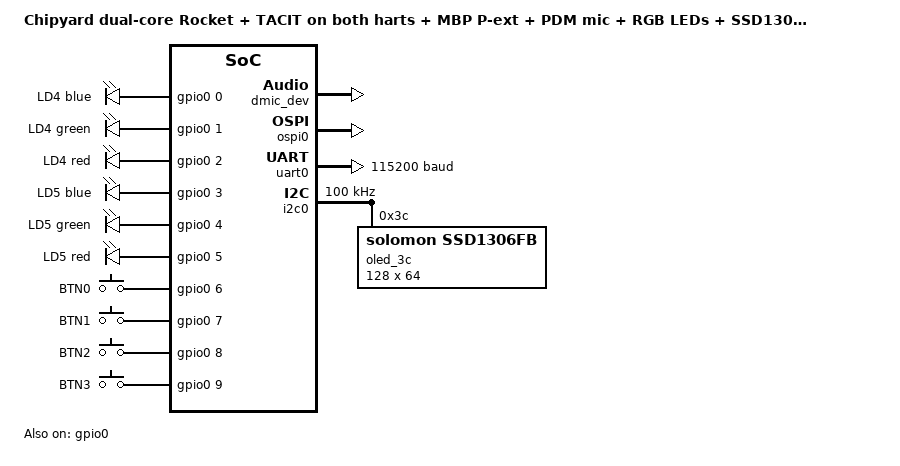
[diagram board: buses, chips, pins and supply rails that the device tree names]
/dts-v1/;

/*
 * THE TRACE BITSTREAM: 0x5A5A0039, variant `tracepanelcam`, FCLK0 40 MHz.
 * Config PynqZ2RocketBigLittlePextTacitMicRgbI2cBtnCamConfig (Lab B138).
 *
 * It is chipyard_pynqz1_panel_f40 (0x5A5A0037's board) PLUS the HM01B0 capture peripheral
 * at 0x1008_0000 -- that node and its two aliases are chipyard_pynqz1_cam's, with one
 * number changed -- and the silicon behind it has NO RoCC ENGINE.  Neither change touches
 * the console, and only one of them moves an interrupt number:
 *
 *   ospi@10080000 added   -> PLIC source 13; riscv,ndev 12 -> 13.  NOTHING BEFORE IT MOVES:
 *                            the I2C is still 1, THE CONSOLE IS STILL 2 and the GPIO is
 *                            still 3..12, because the capture peripheral is mixed in after
 *                            all three.
 *   RoCC engine removed   -> NOT VISIBLE IN DEVICETREE AT ALL, and that is the trap.  A RoCC
 *                            accelerator has no DT node; it is reached by executing a
 *                            custom-1 instruction.  On this silicon hart 1 has no RoCC
 *                            decode table, so EVERY ModelBlaster dispatch raises an illegal
 *                            instruction (mcause 2) instead of running the engine.  An image
 *                            that expects the engine must not be run here, and devicetree
 *                            cannot stop it -- only the MAGIC gate can.
 *
 * WHAT THIS BOARD HAS THAT chipyard_pynqz1_all_f40 (0x5A5A0038) DOES NOT: TACIT.  Both harts
 * carry a trace encoder and a DMA sink, at 0x300_0000 / 0x300_1000 and 0x301_0000 /
 * 0x301_1000.  They have NO devicetree node and NO PLIC source here for the same reason they
 * have none on any other board in this tree: Zephyr reaches them through
 * soc/rocketchip/virt_riscv/common/tacit/tacit.h, which computes `base + hart_id * 0x1000`
 * from constants.  They are listed here so the record says which silicon has them.
 *
 * ---------------------------------------------------------------------------------------
 * THE NUMBERS, AND HOW THEY WERE VERIFIED
 *
 * Read out of THE BOOTROM DTB THAT IS COMPILED INTO THIS BITSTREAM, the way B136 had to
 * after getting a console wrong by trusting a comment:
 *
 *   1. TLROM.sv in this config's gen-collateral holds the boot ROM as a 1,024-entry packed
 *      SystemVerilog array literal, `wire [1023:0][63:0] _GEN = '{...}`, so the words appear
 *      in DESCENDING index order and must be REVERSED before unpacking little-endian.
 *   2. Done that way the ROM is 8,192 bytes, byte 0xC0 is the FDT magic d00dfeed and the
 *      blob is 5,124 bytes.  `dtc -I dtb -O dts` on it says, verbatim:
 *
 *          i2c@10040000                  interrupts = <0x01>;
 *          serial@10020000               interrupts = <0x02>;
 *          gpio@10010000                 interrupts = <0x03 ... 0x0c>;   (ten)
 *          ospi@10080000                 interrupts = <0x0d>;
 *          interrupt-controller@c000000  riscv,ndev = <0x0d>;
 *          trace-encoder-controller@3000000, @3001000
 *          trace-sink-dma@3010000,         @3011000
 *
 *      The last two lines are also the evidence that BOTH TILES carry an encoder and a sink:
 *      chipyard.WithTacitEncoder maps over every tile with
 *      `encoderBaseAddr = 0x3000000 + tileId * 0x1000`, and here is the result in the
 *      silicon's own ROM rather than in the fragment's name.
 *   3. The config's own generated .dts next to that collateral says the same thing, and so
 *      does tcl/build_rocket.tcl's variant comment.  Three statements, one of which is the
 *      bootrom; the numbers below are that one.
 *
 * riscv,ndev is left at the shared dtsi's 1024 rather than cut to 13, as on every other
 * board here: Zephyr's PLIC driver sizes its tables from it, and a driver prepared for more
 * sources than the hardware has is the harmless direction.
 *
 * THE NUMBERING IS THE SAME AS chipyard_pynqz1_all_f40's, and that is not a coincidence:
 * that SoC has the same four peripherals in the same order.  TACIT contributes no interrupt
 * and the RoCC never did either, so the two boards' PLIC maps coincide.  An image built for
 * either board gets a correct console on the other silicon -- but only this one names a
 * machine where the TACIT MMIO answers and the engine does not.
 *
 * ---------------------------------------------------------------------------------------
 * ONE I2C BUS, TWO DEVICES ON IT, AND THAT IS THE BOARD'S DOING RATHER THAN A COMPROMISE.
 * The SSD1306 at 0x3c and the HM01B0's control port at 0x24 are both on i2c0 (0x1004_0000),
 * because the camera shield hangs its J4 OLED row straight on PL_SDA/PL_SCL and puts the
 * sensor behind a PCA9306 on the same pair.  P16 = SCL, P15 = SDA -- the only two PL balls
 * on this board with pull-ups fitted (2.2 k to 3V3, R49/R50).  B136 MEASURED an SSD1306
 * answering at 0x3c on exactly those balls, on 0x5A5A0037, on this bench.
 *
 * NOBODY HAS RUN THE TWO TOGETHER.  Sharing a bus is a software problem -- the sensor's
 * control writes and the display's frame writes must not interleave inside a transfer -- and
 * no image here does both yet.
 *
 * ---------------------------------------------------------------------------------------
 * WHICH PHYSICAL PINS, because the OLED and the camera are wired to the PL by hand.  From
 * src/pynqz2_i2c.xdc and src/pynqz2_ospi.xdc, the constraints this build used:
 *
 *     SCL  ball P16  bank 34   PYNQ-Z1 shield row J6, pin marked "SCL"
 *     SDA  ball P15  bank 34   PYNQ-Z1 shield row J6, pin marked "SDA"
 *
 *     cam_d[0..7]  T14 U12 V13 V15 T15 R16 U17 V17      (shield IO0,1,3..8)
 *     cam_pclk U10   cam_fvld W11   cam_lvld V11   cam_int T5     (shield A5,A2,A3,A4)
 *     cam_mclk V18   cam_trig T16                                 (shield IO9, IO10)
 *
 * U13 is PUDC_B, tied to 3V3 on the shield; tcl/build_rocket.tcl checks after route that no
 * port landed on it.  The buttons need no wiring -- BTN0..BTN3 are the board's own:
 *
 *     btn[0] BTN0  D19   btn[1] BTN1  D20   btn[2] BTN2  L20   btn[3] BTN3  L19
 *
 * ACTIVE HIGH -- PYNQ-Z1 Reference Manual section 12, quoted in docs/RGB_LEDS.md section 8.
 * NOBODY HAS PRESSED ONE (B136 phase C scored UNPRESSED); that is still true here.
 */

#include <zephyr/dt-bindings/gpio/gpio.h>
#include <zephyr/dt-bindings/input/input-event-codes.h>
#include <chipyard/chipyard-riscv64.dtsi>

/ {
	model = "Chipyard dual-core Rocket + TACIT on both harts + MBP P-ext + PDM mic + RGB LEDs + SSD1306 I2C + 4 buttons + HM01B0 capture DMA, no RoCC engine (PYNQ-Z1, FCLK0 40 MHz)";
	compatible = "ucb-bar,chipyard-dev";

	chosen {
		zephyr,console = &uart0;
		zephyr,shell-uart = &uart0;
		zephyr,sram = &ram0;
	};

	soc {
		dmic_dev: pdm-mic@10090000 {
			compatible = "iiswc,pdm-mic";
			reg = <0x10090000 0x1000>;
			status = "okay";
		};

		gpio0: gpio@10010000 {
			compatible = "sifive,gpio0";
			reg = <0x10010000 0x1000>;
			reg-names = "control";
			interrupt-parent = <&plic>;
			/*
			 * TEN entries, <source priority>, in pin order -- the bootrom DTB's
			 * `interrupts = <3 4 5 6 7 8 9 10 11 12>`.  sifive,gpio0.yaml makes
			 * `interrupts` required and gpio_sifive.c IRQ_CONNECTs one per entry
			 * (its cfg function has slots for twelve), so these have to be right
			 * rather than plausible.  Nothing here uses them today: the LEDs are
			 * outputs and the buttons are polled.
			 */
			interrupts = <3 1>, <4 1>, <5 1>, <6 1>, <7 1>, <8 1>,
				     <9 1>, <10 1>, <11 1>, <12 1>;
			gpio-controller;
			#gpio-cells = <2>;
			/*
			 * Ten, not six and not the binding's default 32.
			 * GPIO_PORT_PIN_MASK_FROM_DT_INST builds the driver's port_pin_mask
			 * from this, so a write to pin 10 comes back -EINVAL instead of
			 * reaching a register bit the hardware does not have.
			 */
			ngpios = <10>;
			status = "okay";
		};

		/*
		 * THE HM01B0 CAPTURE PERIPHERAL AND ITS TileLink DMA MASTER.  Node shape and every
		 * property are chipyard_pynqz1_cam's, character for character, except the interrupt:
		 * source 9 there (that SoC has a six-pin GPIO and no I2C ahead of the UART), source
		 * 13 here.  Read from this bitstream's own bootrom DTB -- see the header.
		 *
		 * THERE IS NO ZEPHYR DRIVER.  samples/cam_capture drives these registers through
		 * fpga/pynq-z2/sw/cam/ospi_cam.c and POLLS, so `interrupts` is recorded because the
		 * binding requires it and because a wrong number in the record is a lie, not because
		 * anything connects it.
		 *
		 * frame-buffer-depth is 512 BEATS AND THAT IS A LINE, NOT A FRAME: the DMA drains
		 * into DDR while the sensor reads out, so software must have a transfer armed before
		 * a frame starts (fpga/pynq-z2/docs/CAMERA_Z1.md section 5).  It is the CAPACITY
		 * register's value in this build, not a tunable here.
		 *
		 * sensor-i2c points at the SAME controller the OLED is on.  See the header.
		 */
		ospi0: ospi@10080000 {
			compatible = "ucbbar,ospi-hm01b0";
			reg = <0x10080000 0x1000>;
			interrupt-parent = <&plic>;
			interrupts = <13 1>;
			frame-buffer-depth = <512>;
			sensor-i2c = <&i2c0>;
			status = "okay";
		};
	};

	/*
	 * UNCHANGED FROM chipyard_pynqz1_micrgb_f40, deliberately and to be kept that way:
	 * pins 0..5 of this controller are the same six RGB signals on the same six balls
	 * (L15/G17/N15 = LD4 blue/green/red, G14/L14/M15 = LD5), and samples/mic_led_record
	 * and samples/moonshine_live reach them only through the led0..led5 aliases below.
	 * Widening the controller did not move them; that is what makes those two samples
	 * build for this board with no source change.
	 *
	 * ACTIVE HIGH: the FPGA drives the tri-colour LED cathodes through an INVERTING
	 * transistor (PYNQ-Z1 Reference Manual 12.1).  The PL chops all six at a fixed
	 * 12.5 % duty (src/pynqz2_rocket_top.v), so a pin written to 1 is on at 12.5 %.
	 */
	rgbleds: rgbleds {
		compatible = "gpio-leds";
		ld4_blue:  ld4_blue  { gpios = <&gpio0 0 GPIO_ACTIVE_HIGH>; label = "LD4 blue";  };
		ld4_green: ld4_green { gpios = <&gpio0 1 GPIO_ACTIVE_HIGH>; label = "LD4 green"; };
		ld4_red:   ld4_red   { gpios = <&gpio0 2 GPIO_ACTIVE_HIGH>; label = "LD4 red";   };
		ld5_blue:  ld5_blue  { gpios = <&gpio0 3 GPIO_ACTIVE_HIGH>; label = "LD5 blue";  };
		ld5_green: ld5_green { gpios = <&gpio0 4 GPIO_ACTIVE_HIGH>; label = "LD5 green"; };
		ld5_red:   ld5_red   { gpios = <&gpio0 5 GPIO_ACTIVE_HIGH>; label = "LD5 red";   };
	};

	/*
	 * THE FOUR BUTTONS, AS gpio-keys WITH sw0..sw3 ALIASES.  Two reasons for that shape
	 * rather than bare aliases onto the controller:
	 *
	 *   1. An application that only wants to POLL still gets a gpio_dt_spec with the
	 *      polarity attached -- GPIO_DT_SPEC_GET(DT_ALIAS(sw0), gpios) -- which is
	 *      EXACTLY the led0..led5 pattern samples/moonshine_live already uses.  Nobody
	 *      has to know that BTN0 is pin 6, and nobody can get the polarity wrong.
	 *   2. gpio-keys costs nothing unless an image asks for it.  CONFIG_INPUT is not
	 *      default-y (subsys/input/Kconfig), and CONFIG_INPUT_GPIO_KEYS lives inside
	 *      `if INPUT`, so on an image that does not set CONFIG_INPUT=y these nodes bind
	 *      no driver, connect no IRQ and cost no bytes.  An image that DOES want edge
	 *      events later gets them for one Kconfig line, using the PLIC sources above.
	 *
	 * zephyr,code is filled in so that path works when somebody takes it; it is ignored
	 * by polling code.
	 *
	 * INPUT ONLY, AND input_en MATTERS.  Nothing in the PL drives these four balls; the
	 * top level feeds the controller's i_ival from the pad gated by the controller's own
	 * input_en.  A guest that never calls gpio_pin_configure_dt(..., GPIO_INPUT) reads
	 * EVERY BUTTON AS 0 FOREVER -- it does not error, it just reads 0.  gpio_sifive.c
	 * sets in_en from the GPIO_INPUT flag, so configure before you read.
	 *
	 * NO DEBOUNCE IN HARDWARE, and the board has none either.  A polling reader should
	 * require two agreeing samples a few ms apart, or use debounce-interval-ms here.
	 */
	buttons: buttons {
		compatible = "gpio-keys";
		debounce-interval-ms = <30>;
		btn0: btn0 { gpios = <&gpio0 6 GPIO_ACTIVE_HIGH>; label = "BTN0"; zephyr,code = <INPUT_KEY_0>; };
		btn1: btn1 { gpios = <&gpio0 7 GPIO_ACTIVE_HIGH>; label = "BTN1"; zephyr,code = <INPUT_KEY_1>; };
		btn2: btn2 { gpios = <&gpio0 8 GPIO_ACTIVE_HIGH>; label = "BTN2"; zephyr,code = <INPUT_KEY_2>; };
		btn3: btn3 { gpios = <&gpio0 9 GPIO_ACTIVE_HIGH>; label = "BTN3"; zephyr,code = <INPUT_KEY_3>; };
	};

	aliases {
		/*
		 * led0..led5 ARE LOAD-BEARING and must not be renumbered: samples/mic_led_record
		 * and samples/moonshine_live take them with DT_ALIAS(led0..led5) and nothing
		 * else identifies a lamp.  These six lines are chipyard_pynqz1_micrgb_f40's,
		 * character for character.
		 */
		led0 = &ld4_blue;
		led1 = &ld4_green;
		led2 = &ld4_red;
		led3 = &ld5_blue;
		led4 = &ld5_green;
		led5 = &ld5_red;
		sw0 = &btn0;
		sw1 = &btn1;
		sw2 = &btn2;
		sw3 = &btn3;
		/* chipyard_pynqz1_cam's two alias names, unchanged, so samples/cam_capture builds
		 * for this board with no source edit. */
		camera-i2c = &i2c0;
		camera0 = &ospi0;
	};
};

&uart0 {
	status = "okay";
	current-speed = <115200>;
	/*
	 * PLIC SOURCE 2 ON THIS SoC.  On chipyard_pynqz1_micrgb_f40 it is 1, and 1 here is
	 * the I2C controller.  A wrong number here is a console that looks hung: the guest
	 * runs, the UART transmits nothing an interrupt ever completes, and the bench sees a
	 * dead board.  Read from the bootrom DTB, not from this comment -- see the header.
	 */
	interrupts = <2 1>;
};

&i2c0 {
	status = "okay";
	/* source 1 in the bootrom DTB; the shared dtsi's <52 1> is another SoC's.
	 * i2c_sifive.c polls -- it never enables this interrupt -- but the property is
	 * required by the binding and a wrong value would be a lie in the record. */
	interrupts = <1 1>;
	/*
	 * 100 kHz, as chipyard_pynqz1_cam and the shared dtsi both set.  i2c_sifive derives
	 * the prescaler from SIFIVE_PERIPHERAL_CLOCK_FREQUENCY, which is
	 * CONFIG_SYS_CLOCK_HW_CYCLES_PER_SEC * CONFIG_RTC_CLOCK_DIVIDER_VALUE = 40,000,000
	 * here against 34,483,000 on the cam board, SO THE ACTUAL SCL RATE IS NOT THE ONE
	 * MEASURED IN docs/OLED_SSD1306.md 7.3 (112.69 kHz on a 34.4828 MHz pbus).  Nobody
	 * has measured it at 40 MHz.  It is well inside the SSD1306's 400 kHz either way,
	 * so this is a number to re-measure, not a hazard.
	 */
	clock-frequency = <100000>;

	/*
	 * THE OLED.  0x3c is the strap the module on this bench uses (0x3d exists on some
	 * modules; samples/oled_status's own overlay adds that second node and probes both).
	 *
	 * zephyr,deferred-init IS NOT OPTIONAL HERE.  Without it the SSD1306 driver would
	 * run its init sequence at boot on every image built for this board, and on a board
	 * with no display fitted that is a failing device init before main() -- on a bus
	 * whose controller has no timeout (docs/OLED_SSD1306.md F2).  With it, nothing
	 * touches the bus until an application calls device_init(), which is what
	 * samples/oled_status does after it has NOP-probed the address.
	 *
	 * Panel properties are Zephyr's own ssd1306_128x64 shield values, the same ones
	 * samples/oled_status/oled.overlay sets; that overlay merges with this node rather
	 * than conflicting with it.
	 */
	/*
	 * THE SENSOR'S CONTROL PORT IS ALSO ON THIS BUS, at 0x24, and has no node: it is
	 * reached by fpga/pynq-z2/sw/cam/ospi_cam.c through the i2c0 device, the same way
	 * chipyard_pynqz1_cam does it.  The `camera-i2c` alias above is how that code finds
	 * the controller.
	 */
	oled_3c: ssd1306@3c {
		compatible = "solomon,ssd1306fb";
		reg = <0x3c>;
		width = <128>;
		height = <64>;
		segment-offset = <0>;
		page-offset = <0>;
		display-offset = <0>;
		multiplex-ratio = <63>;
		segment-remap;
		com-invdir;
		prechargep = <0x22>;
		zephyr,deferred-init;
	};
};

/* HTIF is a simulator transport: it needs a host polling tohost/fromhost. On the FPGA the
 * console is a real UART, so leave it off. */
&htif {
	status = "disabled";
};

&flash0 {
	status = "disabled";
};
